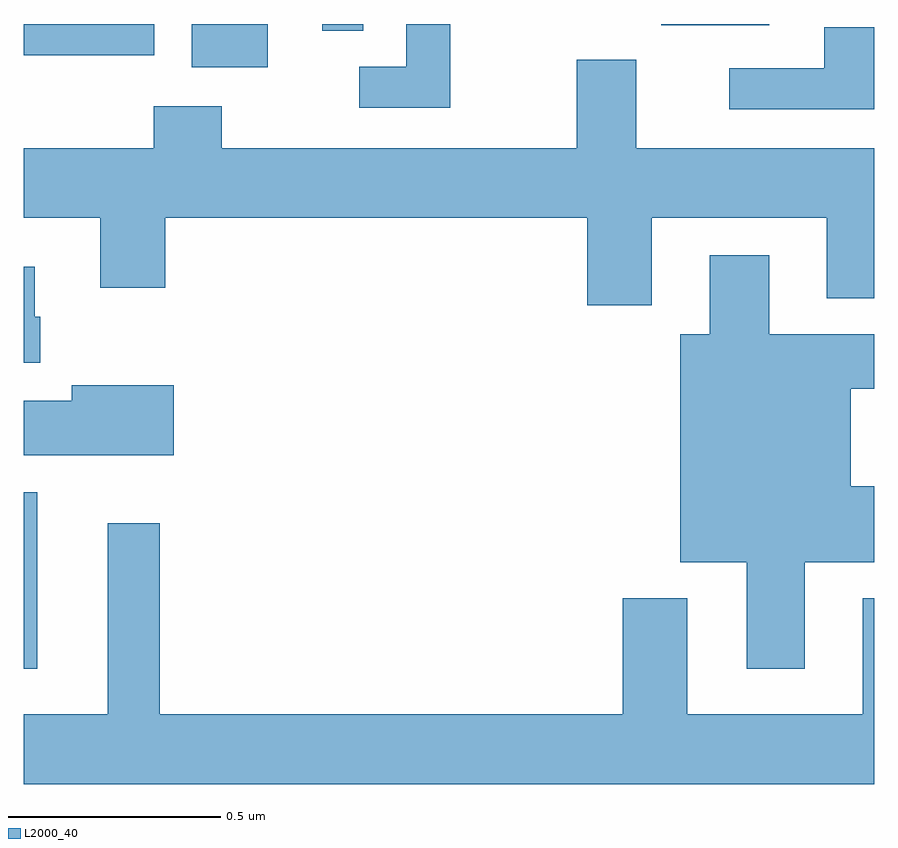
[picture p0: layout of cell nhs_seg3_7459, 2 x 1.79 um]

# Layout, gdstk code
import gdstk
lib = gdstk.Library(unit=1e-6, precision=1e-09)
def R(c, l, rs):  # rectangles x0, y0, x1, y1
    for r in rs: c.add(gdstk.rectangle(r[:2], r[2:], *l))
def P(c, l, *ps):  # polygons
    for p in ps: c.add(gdstk.Polygon(p, *l))
L2000_40 = (2000, 40)

nhs_seg3_7459 = lib.new_cell('nhs_seg3_7459')
R(nhs_seg3_7459, L2000_40, [(204,671.883,204.031,672.298), (204.395,673.298,204.574,673.4), (204,673.327,204.306,673.4), (204.702,673.384,204.798,673.4), (205.499,673.397,205.753,673.4)])
P(nhs_seg3_7459, L2000_40, [(205.003,673.4),(204.899,673.4),(204.899,673.299),(204.789,673.299),(204.789,673.203),(205.003,673.203)],
  [(206,673.392),(205.883,673.392),(205.883,673.296),(205.659,673.296),(205.659,673.2),(206,673.2)],
  [(205.477,672.944),(205.889,672.944),(205.889,672.755),(206,672.755),(206,673.108),(205.441,673.108),(205.441,673.316),(205.301,673.316),(205.301,673.108),(204.465,673.108),(204.465,673.207),(204.305,673.207),(204.305,673.108),(204,673.108),(204,672.944),(204.179,672.944),(204.179,672.78),(204.332,672.78),(204.332,672.944),(205.325,672.944),(205.325,672.738),(205.477,672.738)],
  [(205.837,672.134),(206,672.134),(206,672.313),(205.945,672.313),(205.945,672.542),(206,672.542),(206,672.67),(205.753,672.67),(205.753,672.856),(205.613,672.856),(205.613,672.67),(205.544,672.67),(205.544,672.134),(205.7,672.134),(205.7,671.883),(205.837,671.883)],
  [(204.038,672.711),(204.025,672.711),(204.025,672.829),(204,672.829),(204,672.603),(204.038,672.603)],
  [(204.352,672.55),(204.113,672.55),(204.113,672.514),(204,672.514),(204,672.386),(204.352,672.386)],
  [(206,672.049),(205.973,672.049),(205.973,671.776),(205.561,671.776),(205.561,672.049),(205.409,672.049),(205.409,671.776),(204.319,671.776),(204.319,672.226),(204.197,672.226),(204.197,671.776),(204,671.776),(204,671.612),(206,671.612)])

lib.write_gds('nhs_seg3_7459.gds')
